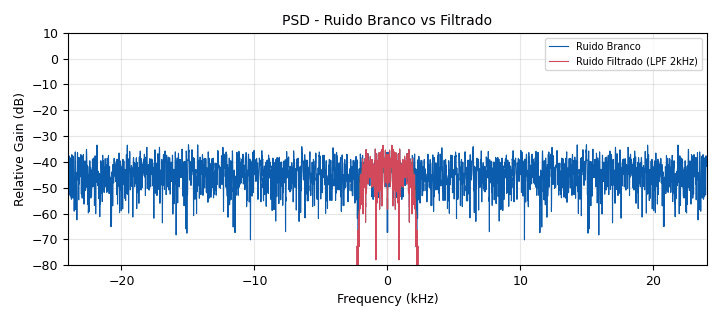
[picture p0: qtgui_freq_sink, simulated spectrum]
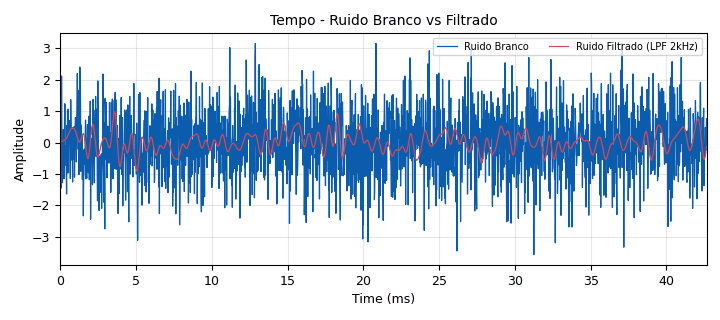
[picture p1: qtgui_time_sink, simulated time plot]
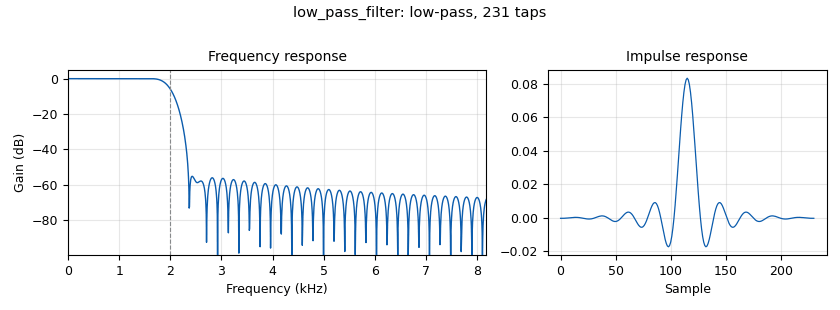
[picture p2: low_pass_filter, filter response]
options:
  parameters:
    author: Curso PriCom - UnB
    comment: |-
      Exemplo 07 - PSD e Filtragem de Ruido
      Ruido branco passa por LPF, mostrando como a PSD e moldada pelo filtro.
    description: PSD e Filtragem de Ruido
    generate_options: qt_gui
    id: exemplo_07_psd_ruido
    output_language: python
    title: Exemplo 07 - PSD e Filtragem de Ruido
  states: {}

blocks:
- name: samp_rate
  id: variable
  parameters:
    comment: Taxa de amostragem
    value: '48000'
  states: {}
- name: note_info
  id: note
  parameters:
    comment: 'PSD: O ruido branco tem PSD constante (N0/2). Apos o filtro, a PSD e moldada por |H(f)|². Compare os espectros.'
    note: PSD e Filtragem
  states: {}
- name: analog_noise_source
  id: analog_noise_source_x
  parameters:
    amp: '1'
    comment: Ruido Gaussiano Branco
    noise_type: analog.GR_GAUSSIAN
    seed: '0'
    type: float
  states: {}
- name: blocks_throttle
  id: blocks_throttle2
  parameters:
    samples_per_second: samp_rate
    type: float
  states: {}
- name: low_pass_filter
  id: low_pass_filter
  parameters:
    comment: LPF fc=2kHz
    cutoff_freq: '2000'
    decim: '1'
    gain: '1'
    samp_rate: samp_rate
    type: fir_filter_fff
    width: '500'
    win: window.WIN_HAMMING
  states: {}
- name: qtgui_freq_sink
  id: qtgui_freq_sink_x
  parameters:
    bw: samp_rate
    comment: Compare PSD antes e apos filtragem
    fc: '0'
    fftsize: '4096'
    grid: 'True'
    gui_hint: 0,0,1,1
    label1: Ruido Branco
    label2: Ruido Filtrado (LPF 2kHz)
    name: '"PSD - Ruido Branco vs Filtrado"'
    nconnections: '2'
    type: float
    width1: '2'
    width2: '2'
    ymin: '-80'
  states: {}
- name: qtgui_time_sink
  id: qtgui_time_sink_x
  parameters:
    autoscale: 'True'
    grid: 'True'
    gui_hint: 1,0,1,1
    label1: Ruido Branco
    label2: Ruido Filtrado (LPF 2kHz)
    name: '"Tempo - Ruido Branco vs Filtrado"'
    nconnections: '2'
    size: '2048'
    srate: samp_rate
    type: float
    width1: '2'
    width2: '2'
    ymax: '4'
    ymin: '-4'
  states: {}

connections:
- [analog_noise_source, '0', blocks_throttle, '0']
- [blocks_throttle, '0', qtgui_freq_sink, '0']
- [blocks_throttle, '0', qtgui_time_sink, '0']
- [blocks_throttle, '0', low_pass_filter, '0']
- [low_pass_filter, '0', qtgui_freq_sink, '1']
- [low_pass_filter, '0', qtgui_time_sink, '1']

metadata:
  file_format: 1
  grc_version: 3.10.12.0
